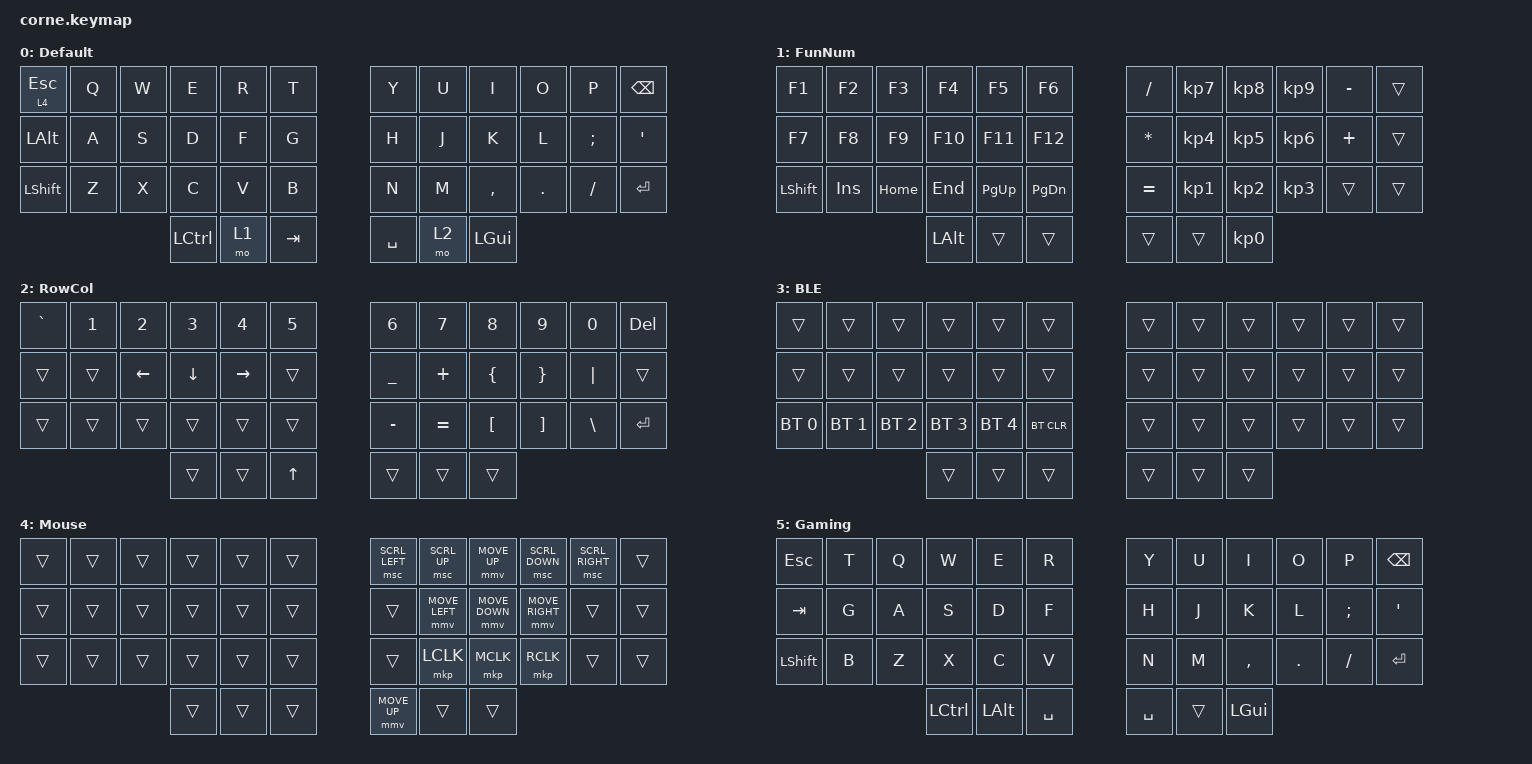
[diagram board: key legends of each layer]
/*
 * Copyright (c) 2020 The ZMK Contributors
 *
 * SPDX-License-Identifier: MIT
 */

#define ZMK_POINTING_DEFAULT_MOVE_VAL 1200  // default: 600
#define ZMK_POINTING_DEFAULT_SCRL_VAL 200    // default: 10

#include <behaviors.dtsi>
#include <dt-bindings/zmk/bt.h>
#include <dt-bindings/zmk/keys.h>
#include <dt-bindings/zmk/pointing.h>

/ {
    combos {
        compatible = "zmk,combos";

        gaming {
            bindings = <&tog 5>;
            key-positions = <37 40>;
        };

        blutooth {
            bindings = <&tog 3>;
            key-positions = <38 39>;
        };
    };

    keymap {
        compatible = "zmk,keymap";

        default_layer {
            // -----------------------------------------------------------------------------------------
            // |  ESC |  Q  |  W  |  E  |  R  |  T  |   |  Y  |  U  |  I  |  O  |  P  | BSPC  |
            // | LALT |  A  |  S  |  D  |  F  |  G  |   |  H  |  J  |  K  |  L  |  ;  |  '    |
            // | LSFT |  Z  |  X  |  C  |  V  |  B  |   |  N  |  M  |  ,  |  .  |  /  | ENTER |
            //                    | LCTRL | LWR | TAB   | SPACE | RSE | LGUI |

            bindings = <
&lt 4 ESC     &kp Q  &kp W  &kp E             &kp R  &kp T        &kp Y      &kp U  &kp I         &kp O    &kp P     &kp BSPC
&kp LEFT_ALT  &kp A  &kp S  &kp D             &kp F  &kp G        &kp H      &kp J  &kp K         &kp L    &kp SEMI  &kp SQT
&kp LSHFT     &kp Z  &kp X  &kp C             &kp V  &kp B        &kp N      &kp M  &kp COMMA     &kp DOT  &kp FSLH  &kp ENTER
                            &kp LEFT_CONTROL  &mo 1  &kp TAB      &kp SPACE  &mo 2  &kp LEFT_GUI
            >;

            display-name = "Default";
        };

        fun_num_layer {
            // -----------------------------------------------------------------------------------------
            // |  F1  |  F2  |  F3  |  F4  |  F5  |  F6  |   |  /   |  7  |  8  |  9  |  -   |       |
            // |  F7  |  F8  |  F9  | F10  | F11  | F12  |   |  *   |  4  |  5  |  6  |  +   |       |
            // | LSFT | INS  | HOME | END  | PGUP | PGDN |   |  =   |  1  |  2  |  3  |      |       |
            //                      | LALT  |      |         |        |     |  0  |

            bindings = <
&kp F1          &kp F2      &kp F3    &kp F4        &kp F5       &kp F6           &kp SLASH     &kp KP_NUMBER_7  &kp KP_NUMBER_8  &kp KP_NUMBER_9  &kp MINUS  &trans
&kp F7          &kp F8      &kp F9    &kp F10       &kp F11      &kp F12          &kp ASTERISK  &kp KP_NUMBER_4  &kp KP_NUMBER_5  &kp KP_NUMBER_6  &kp PLUS   &trans
&kp LEFT_SHIFT  &kp INSERT  &kp HOME  &kp END       &kp PAGE_UP  &kp PAGE_DOWN    &kp EQUAL     &kp KP_NUMBER_1  &kp KP_NUMBER_2  &kp KP_NUMBER_3  &trans     &trans
                                      &kp LEFT_ALT  &trans       &trans           &trans        &trans           &kp KP_NUMBER_0
            >;

            display-name = "FunNum";
        };

        row_col_layer {
            // -----------------------------------------------------------------------------------------
            // |  `   |  1  |  2  |  3  |  4  |  5  |   |  6  |  7  |  8  |  9  |  0  | DEL   |
            // |      |     |  ←  |  ↓  |  →  |     |   |  _  |  +  |  {  |  }  |  |  |       |
            // |      |     |     |     |     |     |   |  -  |  =  |  [  |  ]  |  \  | ENTER |
            //                    |      |     | ↑     |       |     |      |

            bindings = <
&kp GRAVE  &kp NUMBER_1  &kp NUMBER_2  &kp NUMBER_3  &kp NUMBER_4  &kp NUMBER_5    &kp NUMBER_6    &kp NUMBER_7  &kp NUMBER_8      &kp NUMBER_9       &kp NUMBER_0   &kp DELETE
&trans     &trans        &kp LEFT      &kp DOWN      &kp RIGHT     &trans          &kp UNDERSCORE  &kp PLUS      &kp LEFT_BRACE    &kp RIGHT_BRACE    &kp PIPE       &trans
&trans     &trans        &trans        &trans        &trans        &trans          &kp MINUS       &kp EQUAL     &kp LEFT_BRACKET  &kp RIGHT_BRACKET  &kp BACKSLASH  &kp ENTER
                                       &trans        &trans        &kp UP          &trans          &trans        &trans
            >;

            display-name = "RowCol";
        };

        bluetooth_layer {
            // -----------------------------------------------------------------------------------------
            // |     |     |     |     |     |     |   |     |     |     |     |     |
            // |     |     |     |     |     |     |   |     |     |     |     |     |
            // | BT0 | BT1 | BT2 | BT3 | BT4 | BTC |   |     |     |     |     |     |
            //                    |       |    |       |       |      |       |
            bindings = <
&trans        &trans        &trans        &trans        &trans        &trans        &trans  &trans  &trans  &trans  &trans  &trans
&trans        &trans        &trans        &trans        &trans        &trans        &trans  &trans  &trans  &trans  &trans  &trans
&bt BT_SEL 0  &bt BT_SEL 1  &bt BT_SEL 2  &bt BT_SEL 3  &bt BT_SEL 4  &bt BT_CLR    &trans  &trans  &trans  &trans  &trans  &trans
                                          &trans        &trans        &trans        &trans  &trans  &trans
            >;

            display-name = "BLE";
        };

        mouse_layer {
            // -----------------------------------------------------------------------------------------
            // |      |     |     |     |     |     | SCR← | SCR↑ |  ↑   | SCR↓ | S4CR→ |     |    |
            // |      |     |     |     |     |     |      |  ←   |  ↓   |  →   |       |     |    |
            // |      |     |     |     |     |     |      | LCLK | RCLK | MCLK |       |     |    |
            //                      |      |    |      |        |      |       |

            bindings = <
&trans  &trans  &trans  &trans  &trans &trans     &msc SCRL_LEFT  &msc SCRL_UP    &mmv MOVE_UP    &msc SCRL_DOWN  &msc SCRL_RIGHT &trans
&trans  &trans  &trans  &trans  &trans &trans     &trans          &mmv MOVE_LEFT  &mmv MOVE_DOWN  &mmv MOVE_RIGHT &trans          &trans
&trans  &trans  &trans  &trans  &trans &trans     &trans          &mkp LCLK       &mkp MCLK       &mkp RCLK       &trans          &trans
                        &trans  &trans &trans     &mmv MOVE_UP    &trans  &trans
            >;

            display-name = "Mouse";
        };

        gaming_layer {
            // -----------------------------------------------------------------------------------------
            // | ESC  |  T  |  Q  |  W  |  E  |  R  |   |  Y  |  U  |  I  |  O  |  P  | BSPC  |
            // | TAB  |  G  |  A  |  S  |  D  |  F  |   |  H  |  J  |  K  |  L  |  ;  |  '    |
            // | LSFT |  B  |  Z  |  X  |  C  |  V  |   |  N  |  M  |  ,  |  .  |  /  | ENTER |
            //                 | LCTRL | LALT | SPACE | SPACE |      | LGUI |

            bindings = <
&kp ESC     &kp T   &kp Q   &kp W   &kp E   &kp R                  &kp Y   &kp U   &kp I      &kp O    &kp P     &kp BSPC
&kp TAB     &kp G   &kp A   &kp S   &kp D   &kp F                  &kp H   &kp J   &kp K      &kp L    &kp SEMI  &kp APOS
&kp LSHFT   &kp B   &kp Z   &kp X   &kp C   &kp V                  &kp N   &kp M   &kp COMMA  &kp DOT  &kp FSLH  &kp ENTER
                         &kp LCTRL  &kp LALT  &kp SPACE    &kp SPACE  &trans  &kp LGUI
            >;

            display-name = "Gaming";
        };
    };
};
